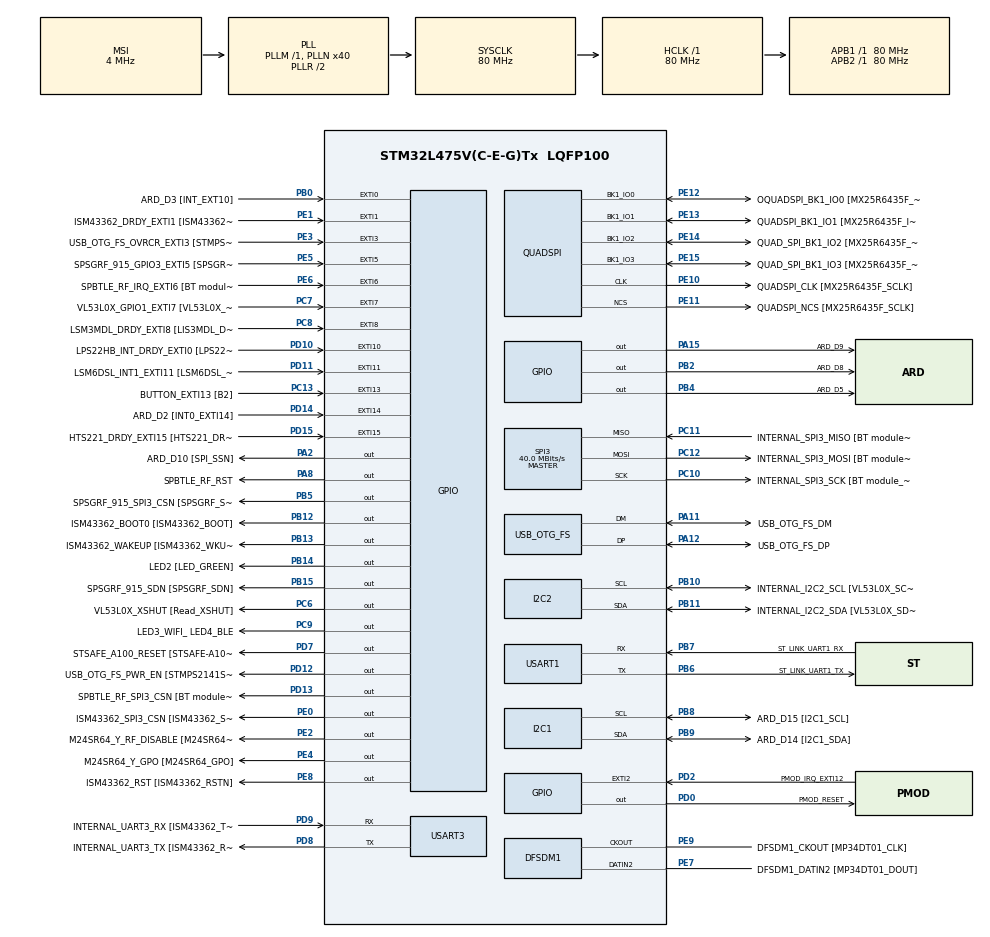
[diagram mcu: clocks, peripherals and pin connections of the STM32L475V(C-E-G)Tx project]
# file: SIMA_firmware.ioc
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I2C1.Timing=0x10D19CE4
I2C2.Timing=0x10D19CE4
Mcu.Family=STM32L4
Mcu.Name=STM32L475V(C-E-G)Tx
Mcu.Package=LQFP100
NVIC.EXTI15_10_IRQn=true\:0\:0\:false\:false\:true\:true\:true\:true
NVIC.EXTI9_5_IRQn=true\:0\:0\:false\:false\:true\:true\:true\:true
NVIC.PriorityGroup=NVIC_PRIORITYGROUP_4
PA0.GPIO_Label=ARD_D1 [UART4_TX]
PA0.Signal=UART4_TX
PA1.GPIO_Label=ARD_D0 [UART4_RX]
PA1.Signal=UART4_RX
PA10.GPIO_Label=USB_OTG_FS_ID
PA10.Signal=USB_OTG_FS_ID
PA11.GPIO_Label=USB_OTG_FS_DM
PA11.Mode=Device_Only
PA11.Signal=USB_OTG_FS_DM
PA12.GPIO_Label=USB_OTG_FS_DP
PA12.Mode=Device_Only
PA12.Signal=USB_OTG_FS_DP
PA13\ (JTMS-SWDIO).GPIO_Label=SYS_JTMS_SWDIO
PA13\ (JTMS-SWDIO).Mode=Serial_Wire
PA13\ (JTMS-SWDIO).Signal=SYS_JTMS-SWDIO
PA14\ (JTCK-SWCLK).GPIO_Label=SYS_JTCK_SWCLK
PA14\ (JTCK-SWCLK).Mode=Serial_Wire
PA14\ (JTCK-SWCLK).Signal=SYS_JTCK-SWCLK
PA15\ (JTDI).GPIO_Label=ARD_D9
PA15\ (JTDI).Signal=GPIO_Output
PA2.GPIO_Label=ARD_D10 [SPI_SSN]
PA2.Signal=GPIO_Output
PA3.GPIO_Label=ARD_D4
PA3.Signal=S_TIM2_CH4
PA4.GPIO_Label=ARD_D7
PA4.Signal=ADCx_IN9
PA5.GPIO_Label=ARD_D13 [SPI1_SCK]
PA5.Signal=SPI1_SCK
PA6.GPIO_Label=ARD_D12 [SPI1_MISO]
PA6.Signal=SPI1_MISO
PA7.GPIO_Label=ARD_D11 [SPI1_MOSI]
PA7.Signal=SPI1_MOSI
PA8.GPIO_Label=SPBTLE_RF_RST
PA8.Signal=GPIO_Output
PA9.GPIO_Label=USB_OTG_FS_VBUS [STMPS2141STR_OUT]
PA9.Signal=USB_OTG_FS_VBUS
PB0.GPIO_Label=ARD_D3 [INT_EXT10]
PB0.Signal=GPXTI0
PB1.GPIO_Label=ARD_D6 [ADC1_IN6]
PB1.Signal=ADCx_IN16
PB10.GPIO_Label=INTERNAL_I2C2_SCL [VL53L0X_SCL]
PB10.GPIO_Pu=GPIO_PULLUP
PB10.Mode=I2C
PB10.Signal=I2C2_SCL
PB11.GPIO_Label=INTERNAL_I2C2_SDA [VL53L0X_SDA]
PB11.GPIO_Pu=GPIO_PULLUP
PB11.Mode=I2C
PB11.Signal=I2C2_SDA
PB12.GPIO_Label=ISM43362_BOOT0 [ISM43362_BOOT]
PB12.Signal=GPIO_Output
PB13.GPIO_Label=ISM43362_WAKEUP [ISM43362_WKUP]
PB13.Signal=GPIO_Output
PB14.GPIO_Label=LED2 [LED_GREEN]
PB14.Signal=GPIO_Output
PB15.GPIO_Label=SPSGRF_915_SDN [SPSGRF_SDN]
PB15.Signal=GPIO_Output
PB2.GPIO_Label=ARD_D8
PB2.Signal=GPIO_Output
PB3\ (JTDO-TRACESWO).GPIO_Label=SYS_JTD0_SWO
PB3\ (JTDO-TRACESWO).Signal=SYS_JTDO-SWO
PB4\ (NJTRST).GPIO_Label=ARD_D5
PB4\ (NJTRST).Signal=GPIO_Output
PB5.GPIO_Label=SPSGRF_915_SPI3_CSN [SPSGRF_SPI_CS]
PB5.PinState=GPIO_PIN_SET
PB5.Signal=GPIO_Output
PB6.GPIO_Label=ST_LINK_UART1_TX
PB6.Mode=Asynchronous
PB6.Signal=USART1_TX
PB7.GPIO_Label=ST_LINK_UART1_RX
PB7.Mode=Asynchronous
PB7.Signal=USART1_RX
PB8.GPIO_Label=ARD_D15 [I2C1_SCL]
PB8.Mode=I2C
PB8.Signal=I2C1_SCL
PB9.GPIO_Label=ARD_D14 [I2C1_SDA]
PB9.Mode=I2C
PB9.Signal=I2C1_SDA
PC0.GPIO_Label=ARD_A5 [ADC]
PC0.Signal=ADCx_IN1
PC1.GPIO_Label=ARD_A4 [ADC]
PC1.Signal=ADCx_IN2
PC10.GPIO_Label=INTERNAL_SPI3_SCK [BT module_SPI_SCLK] [ISM43362_SCK]
PC10.Mode=Full_Duplex_Master
PC10.Signal=SPI3_SCK
PC11.GPIO_Label=INTERNAL_SPI3_MISO [BT module_SPI_MISO] [ISM43362_MISO]
PC11.Mode=Full_Duplex_Master
PC11.Signal=SPI3_MISO
PC12.GPIO_Label=INTERNAL_SPI3_MOSI [BT module_SPI_MOSI] [ISM43362_MOSI]
PC12.Mode=Full_Duplex_Master
PC12.Signal=SPI3_MOSI
PC13.GPIO_Label=BUTTON_EXTI13 [B2]
PC13.GPIO_ModeDefaultEXTI=GPIO_MODE_IT_FALLING
PC13.Signal=GPXTI13
PC14-OSC32_IN\ (PC14).Mode=LSE-External-Oscillator
PC14-OSC32_IN\ (PC14).Signal=RCC_OSC32_IN
PC15-OSC32_OUT\ (PC15).Mode=LSE-External-Oscillator
PC15-OSC32_OUT\ (PC15).Signal=RCC_OSC32_OUT
PC2.GPIO_Label=ARD_A3 [ADC]
PC2.Signal=ADCx_IN3
PC3.GPIO_Label=ARD_A2 [ADC]
PC3.Signal=ADCx_IN4
PC4.GPIO_Label=ARD_A1 [ADC]
PC4.Signal=ADCx_IN13
PC5.GPIO_Label=ARD_A0 [ADC]
PC5.Signal=ADCx_IN14
PC6.GPIO_Label=VL53L0X_XSHUT [Read_XSHUT]
PC6.Signal=GPIO_Output
PC7.GPIO_Label=VL53L0X_GPIO1_EXTI7 [VL53L0X_GPIO1]
PC7.Signal=GPXTI7
PC8.GPIO_Label=LSM3MDL_DRDY_EXTI8 [LIS3MDL_DRDY]
PC8.Signal=GPXTI8
PC9.GPIO_Label=LED3_WIFI_ LED4_BLE
PC9.Signal=GPIO_Output
PD0.GPIO_Label=PMOD_RESET
PD0.Signal=GPIO_Output
PD1.GPIO_Label=PMOD_SPI2_SCK
PD1.Signal=SPI2_SCK
PD10.GPIO_Label=LPS22HB_INT_DRDY_EXTI0 [LPS22HB_INT_DRDY]
PD10.Signal=GPXTI10
PD11.GPIO_Label=LSM6DSL_INT1_EXTI11 [LSM6DSL_INT1]
PD11.Signal=GPXTI11
PD12.GPIO_Label=USB_OTG_FS_PWR_EN [STMPS2141STR_EN]
PD12.Signal=GPIO_Output
PD13.GPIO_Label=SPBTLE_RF_SPI3_CSN [BT module_SPI_CS]
PD13.PinState=GPIO_PIN_SET
PD13.Signal=GPIO_Output
PD14.GPIO_Label=ARD_D2 [INT0_EXTI14]
PD14.Signal=GPXTI14
PD15.GPIO_Label=HTS221_DRDY_EXTI15 [HTS221_DRDY]
PD15.Signal=GPXTI15
PD2.GPIO_Label=PMOD_IRQ_EXTI12
PD2.Signal=GPXTI2
PD3.GPIO_Label=PMOD_UART2_CTS
PD3.Signal=USART2_CTS
PD4.GPIO_Label=PMOD_UART2_RTS
PD4.Signal=USART2_RTS
PD5.GPIO_Label=PMOD_UART2_TX
PD5.Signal=USART2_TX
PD6.GPIO_Label=PMOD_UART2_RX
PD6.Signal=USART2_RX
PD7.GPIO_Label=STSAFE_A100_RESET [STSAFE-A100_RESET]
PD7.Signal=GPIO_Output
PD8.GPIO_Label=INTERNAL_UART3_TX [ISM43362_RX]
PD8.Mode=Asynchronous
PD8.Signal=USART3_TX
PD9.GPIO_Label=INTERNAL_UART3_RX [ISM43362_TX]
PD9.Mode=Asynchronous
PD9.Signal=USART3_RX
PE0.GPIO_Label=ISM43362_SPI3_CSN [ISM43362_SSN]
PE0.PinState=GPIO_PIN_SET
PE0.Signal=GPIO_Output
PE1.GPIO_Label=ISM43362_DRDY_EXTI1 [ISM43362_DATARDY]
PE1.Signal=GPXTI1
PE10.GPIO_Label=QUADSPI_CLK [MX25R6435F_SCLK]
PE10.Mode=Single Bank
PE10.Signal=QUADSPI_CLK
PE11.GPIO_Label=QUADSPI_NCS [MX25R6435F_SCLK]
PE11.Mode=Single Bank
PE11.Signal=QUADSPI_NCS
PE12.GPIO_Label=OQUADSPI_BK1_IO0 [MX25R6435F_IO0]
PE12.Mode=Single Bank
PE12.Signal=QUADSPI_BK1_IO0
PE13.GPIO_Label=QUADSPI_BK1_IO1 [MX25R6435F_IO1]
PE13.Mode=Single Bank
PE13.Signal=QUADSPI_BK1_IO1
PE14.GPIO_Label=QUAD_SPI_BK1_IO2 [MX25R6435F_IO2]
PE14.Mode=Single Bank
PE14.Signal=QUADSPI_BK1_IO2
PE15.GPIO_Label=QUAD_SPI_BK1_IO3 [MX25R6435F_IO3]
PE15.Mode=Single Bank
PE15.Signal=QUADSPI_BK1_IO3
PE2.GPIO_Label=M24SR64_Y_RF_DISABLE [M24SR64_RFDIS]
PE2.Signal=GPIO_Output
PE3.GPIO_Label=USB_OTG_FS_OVRCR_EXTI3 [STMPS2141STR_FAULT]
PE3.Signal=GPXTI3
PE4.GPIO_Label=M24SR64_Y_GPO [M24SR64_GPO]
PE4.Signal=GPIO_Output
PE5.GPIO_Label=SPSGRF_915_GPIO3_EXTI5 [SPSGRF_GPIO_3]
PE5.Signal=GPXTI5
PE6.GPIO_Label=SPBTLE_RF_IRQ_EXTI6 [BT module_SPI_IRQ]
PE6.Signal=GPXTI6
PE7.GPIO_Label=DFSDM1_DATIN2 [MP34DT01_DOUT]
PE7.Signal=S_DATAIN2DFSDM1
PE8.GPIO_Label=ISM43362_RST [ISM43362_RSTN]
PE8.Signal=GPIO_Output
PE9.GPIO_Label=DFSDM1_CKOUT [MP34DT01_CLK]
PE9.Signal=S_CKOUTDFSDM1
ProjectManager.HeapSize=0x800
ProjectManager.StackSize=0x800
ProjectManager.TargetToolchain=STM32CubeIDE
QUADSPI.ClockPrescaler=2
QUADSPI.FifoThreshold=4
QUADSPI.FlashSize=23
QUADSPI.SampleShifting=QSPI_SAMPLE_SHIFTING_HALFCYCLE
RCC.ADCFreq_Value=48000000
RCC.AHBFreq_Value=80000000
RCC.APB1Freq_Value=80000000
RCC.APB1TimFreq_Value=80000000
RCC.APB2Freq_Value=80000000
RCC.APB2TimFreq_Value=80000000
RCC.CortexFreq_Value=80000000
RCC.HCLKFreq_Value=80000000
RCC.HSE_VALUE=8000000
RCC.HSI_VALUE=16000000
RCC.MSI_VALUE=4000000
RCC.PLLN=40
RCC.PLLSAI1N=24
RCC.SYSCLKFreq_VALUE=80000000
RCC.SYSCLKSource=RCC_SYSCLKSOURCE_PLLCLK
RCC.USBFreq_Value=48000000
RCC.VCOOutputFreq_Value=160000000
SH.ADCx_IN1.0=ADC1_IN1
SH.ADCx_IN13.0=ADC1_IN13
SH.ADCx_IN14.0=ADC1_IN14
SH.ADCx_IN16.0=ADC1_IN16
SH.ADCx_IN2.0=ADC1_IN2
SH.ADCx_IN3.0=ADC1_IN3
SH.ADCx_IN4.0=ADC1_IN4
SH.ADCx_IN9.0=ADC1_IN9
SH.S_CKOUTDFSDM1.0=DFSDM1_CKOUT,CKOUT
SH.S_CKOUTDFSDM1.1=DFSDM1_CKOUT,PDM_SPI_Input_from_ch12_and_Internal_Clock
SH.S_DATAIN2DFSDM1.0=DFSDM1_DATIN2,PDM_SPI_Input_from_ch12_and_Internal_Clock
SH.S_TIM2_CH4.0=TIM2_CH4
SPI3.CalculateBaudRate=40.0 MBits/s
SPI3.Direction=SPI_DIRECTION_2LINES
SPI3.Mode=SPI_MODE_MASTER
SPI3.VirtualType=VM_MASTER
STMicroelectronics.X-CUBE-AI.10.2.0.ActivationBufferSizeList=2244
STMicroelectronics.X-CUBE-AI.10.2.0.ActivationBuffers=pool0
STMicroelectronics.X-CUBE-AI.10.2.0.ActivationNames=pool0
STMicroelectronics.X-CUBE-AI.10.2.0.ActivationSizes=AI_NETWORK_DATA_ACTIVATION_1_SIZE
STMicroelectronics.X-CUBE-AI.10.2.0.HeapSize=0x800
STMicroelectronics.X-CUBE-AI.10.2.0.InternalRamActivationBufferMaxSize=AI_NETWORK_DATA_ACTIVATIONS_SIZE
STMicroelectronics.X-CUBE-AI.10.2.0.LatestDirectoryUsed-8d353d27f114e8611f41ea0c9fc8ebd8f4a12697c1ad5802ac2653924201cf52=C\:\\Users\\jorgevasquez\\Downloads
STMicroelectronics.X-CUBE-AI.10.2.0.MaximumNumberOfInputLayer=1
STMicroelectronics.X-CUBE-AI.10.2.0.MaximumNumberOfOutputLayer=1
STMicroelectronics.X-CUBE-AI.10.2.0.MaximumSizeOfInputLayer=1
STMicroelectronics.X-CUBE-AI.10.2.0.MaximumSizeOfOutputLayer=1
STMicroelectronics.X-CUBE-AI.10.2.0.ModelActualCompression-8d353d27f114e8611f41ea0c9fc8ebd8f4a12697c1ad5802ac2653924201cf52=0.0
STMicroelectronics.X-CUBE-AI.10.2.0.ModelCompression-8d353d27f114e8611f41ea0c9fc8ebd8f4a12697c1ad5802ac2653924201cf52=None
STMicroelectronics.X-CUBE-AI.10.2.0.ModelFlashOccupation-8d353d27f114e8611f41ea0c9fc8ebd8f4a12697c1ad5802ac2653924201cf52=15952
STMicroelectronics.X-CUBE-AI.10.2.0.ModelHashList=8d353d27f114e8611f41ea0c9fc8ebd8f4a12697c1ad5802ac2653924201cf52
STMicroelectronics.X-CUBE-AI.10.2.0.ModelKind-8d353d27f114e8611f41ea0c9fc8ebd8f4a12697c1ad5802ac2653924201cf52=KERAS
STMicroelectronics.X-CUBE-AI.10.2.0.ModelMacc-8d353d27f114e8611f41ea0c9fc8ebd8f4a12697c1ad5802ac2653924201cf52=1424
STMicroelectronics.X-CUBE-AI.10.2.0.ModelName-8d353d27f114e8611f41ea0c9fc8ebd8f4a12697c1ad5802ac2653924201cf52=network
STMicroelectronics.X-CUBE-AI.10.2.0.ModelNameList=network
STMicroelectronics.X-CUBE-AI.10.2.0.ModelRamOccupation-8d353d27f114e8611f41ea0c9fc8ebd8f4a12697c1ad5802ac2653924201cf52=2244
STMicroelectronics.X-CUBE-AI.10.2.0.ModelStructureFile-8d353d27f114e8611f41ea0c9fc8ebd8f4a12697c1ad5802ac2653924201cf52=C\:\\Users\\jorgevasquez\\Downloads\\iris_model.keras
STMicroelectronics.X-CUBE-AI.10.2.0.ModelType-8d353d27f114e8611f41ea0c9fc8ebd8f4a12697c1ad5802ac2653924201cf52=STM32Cube.AI MCU runtime
STMicroelectronics.X-CUBE-AI.10.2.0.ReadyForCodeGeneration=true
STMicroelectronics.X-CUBE-AI.10.2.0.StackSize=0x800
STMicroelectronics.X-CUBE-AI.10.2.0.WorkingBufferStartAddrList=0xFFFFFFFF
STMicroelectronics.X-CUBE-AI.10.2.0.XAaCUBEAaAICcArtificialOoIntelligenceJjCore=true
STMicroelectronics.X-CUBE-AI.10.2.0.copyWeightToRam=false
STMicroelectronics.X-CUBE-AI.10.2.0.customLayerConfigEnabled=false
STMicroelectronics.X-CUBE-AI.10.2.0.noOnnxIoTranspose=false
STMicroelectronics.X-CUBE-AI.10.2.0.useInputAllocation=true
STMicroelectronics.X-CUBE-AI.10.2.0.useOutputAllocation=true
USART1.VirtualMode-Asynchronous=VM_ASYNC
USART3.VirtualMode-Asynchronous=VM_ASYNC
USB_OTG_FS.VirtualMode=Device_Only
VP_STMicroelectronics.X-CUBE-AI_VS_ArtificialOoIntelligenceJjXAaCUBEAaAI_10.2.0.Mode=ArtificialOoIntelligenceJjXAaCUBEAaAI
board=B-L475E-IOT01A1

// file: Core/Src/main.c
/* USER CODE BEGIN Header */
/**
 ******************************************************************************
 * @file           : main.c
 * @brief          : Main program body
 ******************************************************************************
 * @attention
 *
 * Copyright (c) 2025 STMicroelectronics.
 * All rights reserved.
 *
 * This software is licensed under terms that can be found in the LICENSE file
 * in the root directory of this software component.
 * If no LICENSE file comes with this software, it is provided AS-IS.
 *
 ******************************************************************************
 */
/* USER CODE END Header */
#include "main.h"
#include "dfsdm.h"
#include "i2c.h"
#include "quadspi.h"
#include "spi.h"
#include "usart.h"
#include "usb_otg.h"
#include "gpio.h"

/* USER CODE BEGIN Includes */
#include "API_delay.h"
#include "API_lcd.h"

#include "network.h"
#include "network_data.h"
#include "ai_platform.h"
/* USER CODE END Includes */

/* USER CODE BEGIN PD */
#define LED_TIME 4000
/* USER CODE END PD */

/* USER CODE BEGIN PV */
delay_t led_delay;

static ai_handle network = AI_HANDLE_NULL;

AI_ALIGNED(4) static ai_u8 activations[AI_NETWORK_DATA_ACTIVATIONS_SIZE];

AI_ALIGNED(4) static float in_data[AI_NETWORK_IN_1_SIZE];
AI_ALIGNED(4) static float out_data[AI_NETWORK_OUT_1_SIZE];

static const float scaler_mean[4] = {5.84166666f, 3.04833333f, 3.76999999f, 1.20499999f};
static const float scaler_scale[4] = {0.83741499f, 0.44665112f, 1.76113599f, 0.75947898f};

ai_buffer * ai_input;
ai_buffer * ai_output;
/* USER CODE END PV */

void SystemClock_Config(void);
/* USER CODE BEGIN PFP */
void API_AIMODEL_Init(void);

void API_AIMODEL_Run(float * in_data, float * out_data);

void API_AIMODEL_NormalizeInput(const float in[4], float out[4]);
/* USER CODE END PFP */

/* USER CODE BEGIN 0 */
void API_AIMODEL_Init(void) {
    ai_error err;
    const ai_handle act_addr[] = {activations};

    err = ai_network_create_and_init(&network, act_addr, NULL);

    if (err.type != AI_ERROR_NONE) {
        Error_Handler();
    }

    ai_input = ai_network_inputs_get(network, NULL);
    ai_output = ai_network_outputs_get(network, NULL);
}

void API_AIMODEL_Run(float * in_data, float * out_data) {
    ai_i32 nbatch;

    ai_input[0].data = AI_HANDLE_PTR(in_data);
    ai_output[0].data = AI_HANDLE_PTR(out_data);

    nbatch = ai_network_run(network, ai_input, ai_output);

    if (nbatch != 1) {
        Error_Handler();
    }
}

void API_AIMODEL_NormalizeInput(const float in[4], float out[4]) {
    for (int i = 0; i < 4; i++) {
        out[i] = (in[i] - scaler_mean[i]) / scaler_scale[i];
    }
}
/* USER CODE END 0 */

int main(void) {

    /* MCU Configuration--------------------------------------------------------*/

    /* Reset of all peripherals, Initializes the Flash interface and the Systick. */
    HAL_Init();

    /* Configure the system clock */
    SystemClock_Config();

    /* Initialize all configured peripherals */
    MX_GPIO_Init();
    MX_DFSDM1_Init();
    MX_I2C2_Init();
    MX_QUADSPI_Init();
    MX_SPI3_Init();
    MX_USART1_UART_Init();
    MX_USART3_UART_Init();
    MX_USB_OTG_FS_PCD_Init();
    MX_I2C1_Init();
    /* USER CODE BEGIN 2 */

    // Inicializar LCD, delay, etc.
    API_DELAY_Init(&led_delay, LED_TIME);
    API_LCD_Init();

    // Inicializar Red Neuronal
    API_AIMODEL_Init();

    // Valores de ejemplo
    float example[4] = {6.0f, 2.2f, 4.0f, 1.0f};

    float norm_input[4];
    API_AIMODEL_NormalizeInput(example, norm_input);

    // Copiar a buffer de entrada
    for (int i = 0; i < 4; i++)
        in_data[i] = norm_input[i];

    // Ejecutar inferencia una sola vez
    API_AIMODEL_Run(in_data, out_data);

    // Determinar clase predicha
    int predicted = 0;
    float max_val = out_data[0];

    for (int i = 1; i < 3; i++) {
        if (out_data[i] > max_val) {
            max_val = out_data[i];
            predicted = i;
        }
    }

    // Mostrar resultado en el LCD
    API_LCD_CursorPosition(0, 0);
    API_LCD_WriteText("Datos de entrada");
    API_LCD_CursorPosition(1, 0);
    API_LCD_WriteText("Espere ...");
    HAL_Delay(4000);
    API_LCD_CleanScreen();

    API_LCD_CursorPosition(0, 0);
    API_LCD_WriteText("Longitud y ancho");
    API_LCD_CursorPosition(1, 0);
    API_LCD_WriteText("petalo y sepalo");
    HAL_Delay(4000);
    API_LCD_CleanScreen();

    API_LCD_CursorPosition(0, 0);
    API_LCD_WriteText("Longitud y ancho");
    API_LCD_CursorPosition(1, 0);
    API_LCD_WriteText("6.0,2.2,4.0,1.0");
    HAL_Delay(4000);
    API_LCD_CleanScreen();

    API_LCD_CursorPosition(0, 0);
    API_LCD_WriteText("Prediccion IA:");

    API_LCD_CursorPosition(1, 0);
    switch (predicted) {
    case 0:
        API_LCD_WriteText("Iris Setosa");
        break;
    case 1:
        API_LCD_WriteText("Iris Versicolor");
        break;
    case 2:
        API_LCD_WriteText("Iris Virginica");
        break;
    }

    /* USER CODE END 2 */

    /* Infinite loop */
    while (1) {

        /* USER CODE BEGIN 3 */
        if (API_DELAY_Read(&led_delay)) {
            HAL_GPIO_TogglePin(LED2_GPIO_Port, LED2_Pin);
        }
    }
    /* USER CODE END 3 */
}

void SystemClock_Config(void) {
    RCC_OscInitTypeDef RCC_OscInitStruct = {0};
    RCC_ClkInitTypeDef RCC_ClkInitStruct = {0};

    /** Configure the main internal regulator output voltage
     */
    if (HAL_PWREx_ControlVoltageScaling(PWR_REGULATOR_VOLTAGE_SCALE1) != HAL_OK) {
        Error_Handler();
    }

    /** Configure LSE Drive Capability
     */
    HAL_PWR_EnableBkUpAccess();
    __HAL_RCC_LSEDRIVE_CONFIG(RCC_LSEDRIVE_LOW);

    /** Initializes the RCC Oscillators according to the specified parameters
     * in the RCC_OscInitTypeDef structure.
     */
    RCC_OscInitStruct.OscillatorType = RCC_OSCILLATORTYPE_LSE | RCC_OSCILLATORTYPE_MSI;
    RCC_OscInitStruct.LSEState = RCC_LSE_ON;
    RCC_OscInitStruct.MSIState = RCC_MSI_ON;
    RCC_OscInitStruct.MSICalibrationValue = 0;
    RCC_OscInitStruct.MSIClockRange = RCC_MSIRANGE_6;
    RCC_OscInitStruct.PLL.PLLState = RCC_PLL_ON;
    RCC_OscInitStruct.PLL.PLLSource = RCC_PLLSOURCE_MSI;
    RCC_OscInitStruct.PLL.PLLM = 1;
    RCC_OscInitStruct.PLL.PLLN = 40;
    RCC_OscInitStruct.PLL.PLLP = RCC_PLLP_DIV7;
    RCC_OscInitStruct.PLL.PLLQ = RCC_PLLQ_DIV2;
    RCC_OscInitStruct.PLL.PLLR = RCC_PLLR_DIV2;
    if (HAL_RCC_OscConfig(&RCC_OscInitStruct) != HAL_OK) {
        Error_Handler();
    }

    /** Initializes the CPU, AHB and APB buses clocks
     */
    RCC_ClkInitStruct.ClockType =
        RCC_CLOCKTYPE_HCLK | RCC_CLOCKTYPE_SYSCLK | RCC_CLOCKTYPE_PCLK1 | RCC_CLOCKTYPE_PCLK2;
    RCC_ClkInitStruct.SYSCLKSource = RCC_SYSCLKSOURCE_PLLCLK;
    RCC_ClkInitStruct.AHBCLKDivider = RCC_SYSCLK_DIV1;
    RCC_ClkInitStruct.APB1CLKDivider = RCC_HCLK_DIV1;
    RCC_ClkInitStruct.APB2CLKDivider = RCC_HCLK_DIV1;

    if (HAL_RCC_ClockConfig(&RCC_ClkInitStruct, FLASH_LATENCY_4) != HAL_OK) {
        Error_Handler();
    }

    /** Enable MSI Auto calibration
     */
    HAL_RCCEx_EnableMSIPLLMode();
}

void Error_Handler(void) {
    __disable_irq();
    while (1) {
    }
}
